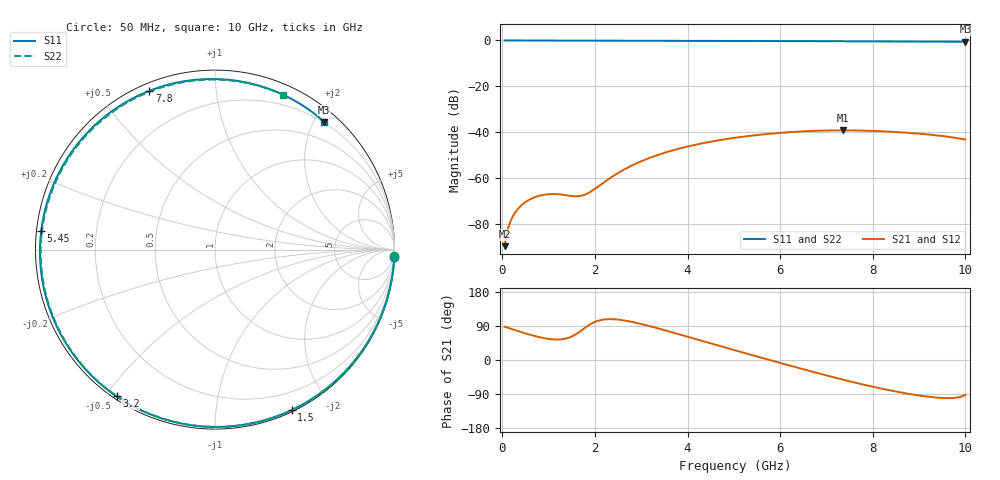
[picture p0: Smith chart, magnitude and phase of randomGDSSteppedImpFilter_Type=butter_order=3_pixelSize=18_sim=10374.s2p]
! freq	dB(S11)	phase(S11)	dB(S12)	phase(S12)
!  dB(S21)	phase(S21)	dB(S22)	phase(S22)
!S-par simulation data
#  GHz  S  DB  R 50
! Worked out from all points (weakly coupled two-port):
!   200 points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, 50 MHz to 10 GHz, reference 50 ohm
!   highest |S21| = -39.20 dB at 7.35 GHz (marker M1); lowest = -89.7 dB at 50 MHz (marker M2)
!   lowest |S11| = -0.6 dB at 10 GHz (marker M3), VSWR 30.29, Z = 9.4 + j108 ohm
!   |S11| at or under -10 dB: nowhere
!   |S22| runs from -0.5 to 0.0 dB; largest |S21 - S12| = 0
!   S11 on the Smith chart (normalised r, x): 50 MHz: 0, -50; 1.5 GHz: 0.02, -1.59; 3.2 GHz: 0.01, -0.53; 5.45 GHz: 0.01, +0.05; 7.8 GHz: 0.03, +0.67; 10 GHz: 0.19, +2.16
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0.05  -0.00 -2.3  -89.71 88.0  -89.71 88.0  -0.00 -1.9
0.15  -0.01 -6.8  -80.23 83.9  -80.23 83.9  -0.01 -5.7
0.25  -0.02 -11.2  -75.92 79.9  -75.92 79.9  -0.01 -9.5
0.35  -0.02 -15.7  -73.19 75.9  -73.19 75.9  -0.02 -13.3
0.65  -0.04 -28.9  -68.78 64.9  -68.78 64.9  -0.03 -24.5
1  -0.06 -44.0  -67.04 55.7  -67.04 55.7  -0.05 -37.4
1.5  -0.08 -64.4  -67.83 62.0  -67.83 62.0  -0.07 -55.3
1.75  -0.09 -74.2  -67.49 81.8  -67.49 81.8  -0.08 -63.9
1.95  -0.10 -81.7  -65.41 97.7  -65.41 97.7  -0.09 -70.7
2.45  -0.11 -99.5  -58.41 107.2  -58.41 107.2  -0.10 -86.9
3.2  -0.14 -123.9  -51.08 88.8  -51.08 88.8  -0.13 -109.7
3.4  -0.14 -130.0  -49.65 82.2  -49.65 82.2  -0.14 -115.5
4.2  -0.17 -152.9  -45.34 54.3  -45.34 54.3  -0.17 -137.6
5.05  -0.21 -175.7  -42.38 24.6  -42.38 24.6  -0.21 -159.9
5.45  -0.23 173.9  -41.36 10.9  -41.36 10.9  -0.23 -170.1
6.05  -0.26 158.5  -40.22 -9.4  -40.22 -9.4  -0.27 174.7
6.7  -0.30 141.7  -39.45 -31.0  -39.45 -31.0  -0.31 158.1
7.35  -0.35 124.5  -39.20 -51.6  -39.20 -51.6  -0.35 141.2
7.8  -0.38 112.4  -39.32 -65.0  -39.32 -65.0  -0.38 129.2
8.35  -0.42 97.2  -39.76 -79.6  -39.76 -79.6  -0.42 114.2
9.2  -0.49 72.9  -41.01 -96.9  -41.01 -96.9  -0.47 90.0
10  -0.57 49.4  -43.25 -92.2  -43.25 -92.2  -0.52 66.3
